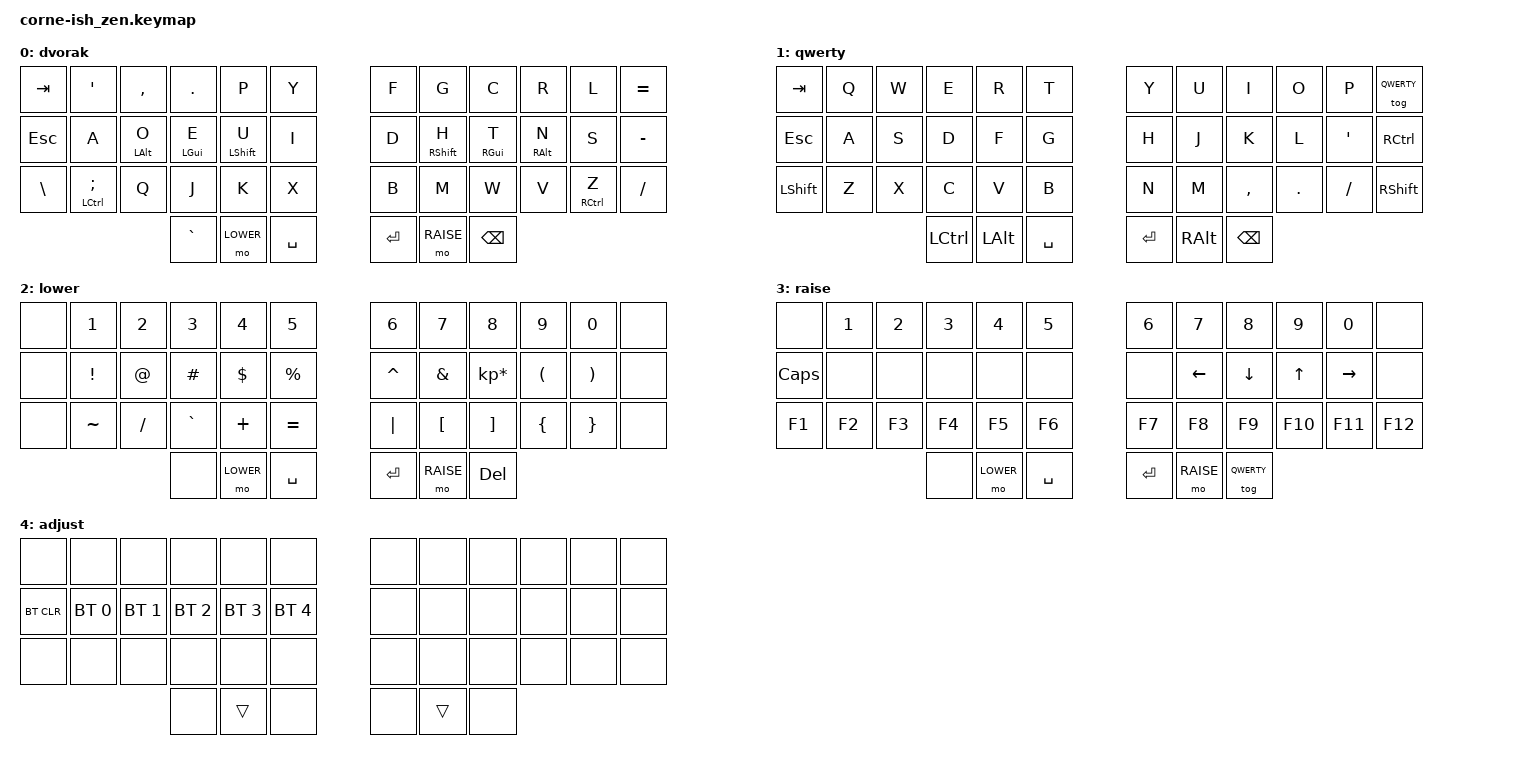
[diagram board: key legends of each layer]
/*
*
* Copyright (c) 2021 Darryl deHaan
* SPDX-License-Identifier: MIT
*
*/

#include <behaviors.dtsi>
#include <dt-bindings/zmk/keys.h>
#include <dt-bindings/zmk/bt.h>

#define DVORAK 0
#define QWERTY 1
#define LOWER 2
#define RAISE 3
#define ADJUST 4

/ {
        conditional_layers {
                compatible = "zmk,conditional-layers";
                tri_layer {
                        if-layers = <2 3>;
                        then-layer = <4>;
                };
        };
        behaviors {
                hm: homerow_mods {
                        compatible = "zmk,behavior-hold-tap";
                        label = "HOMEROW_MODS";
                        #binding-cells = <2>;
                        bindings = <&kp>, <&kp>;

                        // tapping-term-ms = <200>;
                        // quick-tap-ms = <0>;
                        // flavor = "balanced";

                        tapping-term-ms = <250>;
                        quick-tap-ms = <50>;
                        flavor = "tap-preferred";
                };
        };
        keymap {
                compatible = "zmk,keymap";

                default_layer {
// +------+----+----+----+----+----+             +----+----+----+----+----+------+
// | TAB  | '  | ,  | .  | p  | y  |             | f  | g  | c  | r  | l  |  =   |
// +------+----+alt-+cmd-+shft+----+             +----+shft+cmd-+alt-+----+------+
// | ESC  | a  | o  | e  | u  | i  |             | d  | h  | t  | n  | s  |  -   |
// +------+ctl-+----+----+----+----+             +----+----+----+----+ctl-+------+
// |  \   | ;  | q  | j  | k  | x  |             | b  | m  | w  | v  | z  |  /   |
// +------+----+----+----+----+----+----+   +----+----+----+----+----+----+------+
//                       | `  |LWR |SPC |   |ENT |RSE |BSPC|
//                       +----+----+----+   +----+----+----+
                        label = "dvorak";
                        bindings = <
   &kp TAB   &kp SQT        &kp COMMA   &kp DOT     &kp P        &kp Y    &kp F &kp G         &kp C       &kp R       &kp L        &kp EQUAL
   &kp ESC   &kp A          &hm LALT O  &hm LGUI E  &hm LSHIFT U &kp I    &kp D &hm RSHIFT H  &hm RGUI T  &hm RALT N  &kp S        &kp MINUS
   &kp BSLH  &hm LCTRL SEMI &kp Q       &kp J       &kp K        &kp X    &kp B &kp M         &kp W       &kp V       &hm RCTRL Z  &kp FSLH
                                        &kp GRAVE &mo LOWER &kp SPC       &kp RET &mo RAISE &kp BSPC
                        >;
                };

                qwerty_layer {
// +------+----+----+----+----+----+             +----+----+----+----+----+------+
// | TAB  | q  | w  | e  | r  | t  |             | y  | u  | i  | o  | p  |QWERTY|
// +------+----+----+----+----+----+             +----+----+----+----+----+------+
// | ESC  | a  | s  | d  | f  | g  |             | h  | j  | k  | l  | '  | RCTL |
// +------+----+----+----+----+----+             +----+----+----+----+----+------+
// |LSHFT | z  | x  | c  | v  | b  |             | n  | m  | ,  | .  | /  |RSHFT |
// +------+----+----+----+----+----+----+   +----+----+----+----+----+----+------+
//                       |LCTL|LALT|SPC |   |ENT |RALT|BSPC|
//                       +----+----+----+   +----+----+----+
                        label = "qwerty";
                        bindings = <
   &kp TAB   &kp Q &kp W &kp E &kp R &kp T    &kp Y &kp U &kp I    &kp O   &kp P    &tog QWERTY
   &kp ESC   &kp A &kp S &kp D &kp F &kp G    &kp H &kp J &kp K    &kp L   &kp QUOT &kp RCTL
   &kp LSHFT &kp Z &kp X &kp C &kp V &kp B    &kp N &kp M &kp CMMA &kp DOT &kp FSLH &kp RSHFT
                 &kp LCTL &kp LALT &kp SPC    &kp RET &kp RALT &kp BSPC
                        >;
                };

                lower_layer {
// +------+----+----+----+----+----+             +----+----+----+----+----+------+
// |      | 1  | 2  | 3  | 4  | 5  |             | 6  | 7  | 8  | 9  | 0  |      |
// +------+----+----+----+----+----+             +----+----+----+----+----+------+
// |      | !  | @  | #  | $  | %  |             | ^  | &  | *  | (  | )  |      |
// +------+----+----+----+----+----+             +----+----+----+----+----+------+
// |      | ~  | /  | `  | +  | =  |             | |  | [  | ]  | {  | }  |      |
// +------+----+----+----+----+----+----+   +----+----+----+----+----+----+------+
//                       | `  |LWR |SPC |   |ENT |RSE |DEL |
//                       +----+----+----+   +----+----+----+
                        label = "lower";
                        bindings = <
   &none  &kp N1    &kp N2   &kp N3    &kp N4   &kp N5         &kp N6    &kp N7    &kp N8          &kp N9   &kp N0   &none
   &none  &kp EXCL  &kp AT   &kp HASH  &kp DLLR &kp PRCNT      &kp CARET &kp AMPS  &kp KP_MULTIPLY &kp LPAR &kp RPAR &none
   &none  &kp TILDE &kp FSLH &kp GRAVE &kp PLUS &kp EQUAL      &kp PIPE  &kp LBKT  &kp RBKT        &kp LBRC &kp RBRC &none
                                &none &mo LOWER &kp SPACE      &kp RET &mo RAISE &kp DEL
                        >;
                };

                raise_layer {
// +------+----+----+----+----+----+             +----+----+----+----+----+------+
// |      | 1  | 2  | 3  | 4  | 5  |             | 6  | 7  | 8  | 9  | 0  |      |
// +------+----+----+----+----+----+             +----+----+----+----+----+------+
// | CAPS |    |    |    |    |    |             |    | ◄  | ▼  | ▲  | ▶  |      |
// +------+----+----+----+----+----+             +----+----+----+----+----+------+
// |  F1  | F2 | F3 | F4 | F6 | F5 |             | F7 | F8 | F9 |F10 |F11 | F12  |
// +------+----+----+----+----+----+----+   +----+----+----+----+----+----+------+
//                       | `  |LWR |SPC |   |ENT |RSE |QWRT|
//                       +----+----+----+   +----+----+----+
                        label = "raise";
                        bindings = <
   &none    &kp N1  &kp N2  &kp N3  &kp N4   &kp N5     &kp N6   &kp N7   &kp N8   &kp N9   &kp N0    &none
   &kp CAPS &none   &none   &none   &none    &none      &none    &kp LEFT &kp DOWN &kp UP   &kp RIGHT &none
   &kp F1   &kp F2  &kp F3  &kp F4  &kp F5   &kp F6     &kp F7   &kp F8   &kp F9   &kp F10  &kp F11   &kp F12
                          &none &mo LOWER &kp SPACE     &kp RET &mo RAISE  &tog QWERTY
                        >;
                };

                adjust_layer {
// +------+----+----+----+----+----+             +----+----+----+----+----+------+
// |      |    |    |    |    |    |             |    |    |    |    |    |      |
// +------+----+----+----+----+----+             +----+----+----+----+----+------+
// |BT CLR|BT1 |BT2 |BT3 |BT4 |BT5 |             |    |    |    |    |    |      |
// +------+----+----+----+----+----+             +----+----+----+----+----+------+
// |      |    |    |    |    |    |             |    |    |    |    |    |      |
// +------+----+----+----+----+----+----+   +----+----+----+----+----+----+------+
//                       |    |LWR |    |   |    |RSE |    |
//                       +----+----+----+   +----+----+----+
                        label = "adjust";
                        bindings = <
   &none      &none        &none        &none        &none        &none          &none  &none  &none  &none  &none  &none
   &bt BT_CLR &bt BT_SEL 0 &bt BT_SEL 1 &bt BT_SEL 2 &bt BT_SEL 3 &bt BT_SEL 4   &none  &none  &none  &none  &none  &none
   &none      &none        &none        &none        &none        &none          &none  &none  &none  &none  &none  &none
                                                     &none &trans &none          &none &trans  &none
                        >;
                };
        };
};
